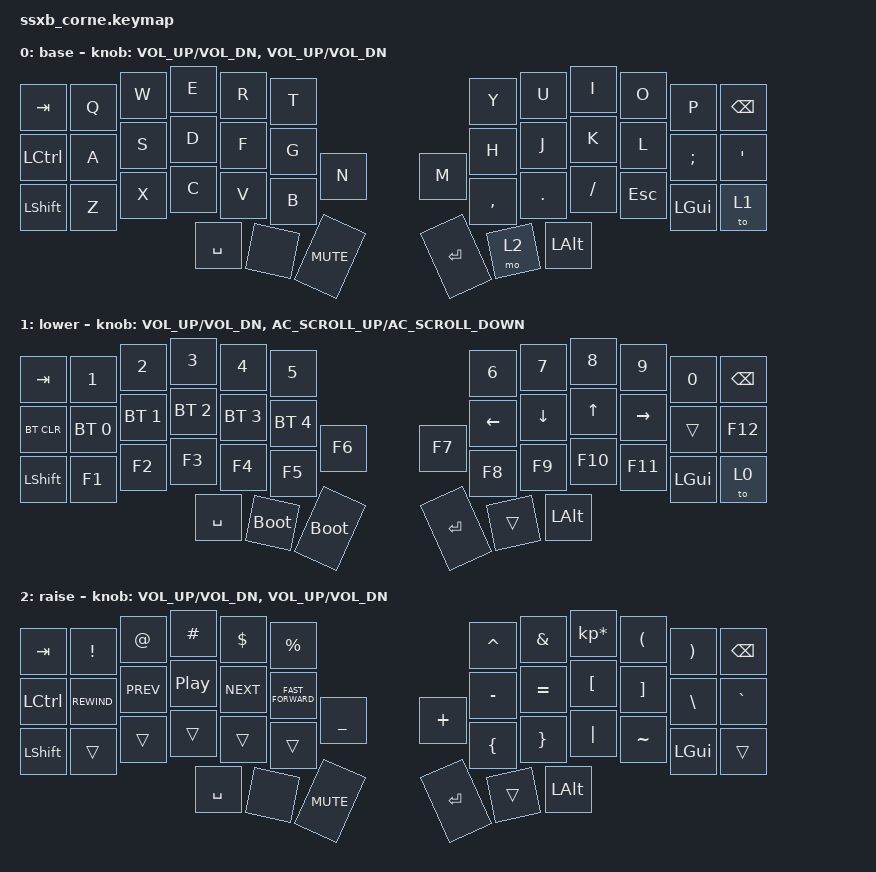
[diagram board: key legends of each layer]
#include <behaviors.dtsi>
#include <dt-bindings/zmk/bt.h>
#include <dt-bindings/zmk/keys.h>

/ {
    combos {
        compatible = "zmk,combos";

        combo_studio_unlock {
            timeout-ms = <50>;
            key-positions = <0 1>;
            bindings = <&studio_unlock>;
        };
    };
};

/ {
    keymap {
        compatible = "zmk,keymap";

        default_layer {
            display-name = "base";
            sensor-bindings =
                <&inc_dec_kp C_VOL_UP C_VOL_DN>,
                <&inc_dec_kp C_VOL_UP C_VOL_DN>;

            // -------------------------------------------------------------------------------------------------
            // |  TAB |  Q  |  W  |  E  |  R  |  T  |                    |  Y  |  U   |  I  |  O  |  P  | BKSP |
            // | CTRL |  A  |  S  |  D  |  F  |  G  |                    |  H  |  J   |  K  |  L  |  ;  |  '   |
            // | SHFT |  Z  |  X  |  C  |  V  |  B  |                    |  N  |  M   |  ,  |  .  |  /  | ESC  |
            //                    | GUI | LWR | SPC |  MUTE  |  |        | ENT | RSE  | ALT |

            bindings = <
&kp TAB    &kp Q  &kp W     &kp E  &kp R      &kp T              &kp Y    &kp U  &kp I      &kp O    &kp P     &kp BSPC
&kp LCTRL  &kp A  &kp S     &kp D  &kp F      &kp G              &kp H    &kp J  &kp K      &kp L    &kp SEMI  &kp SQT
&kp LSHFT  &kp Z  &kp X     &kp C  &kp V      &kp B              &kp N    &kp M  &kp COMMA  &kp DOT  &kp FSLH  &kp ESC
                  &kp LGUI  &to 1  &kp SPACE  &none  &kp C_MUTE  &kp RET  &mo 2  &kp LALT
            >;
        };

        lower_layer {
            display-name = "lower";
            sensor-bindings =
                <&inc_dec_kp C_VOL_UP C_VOL_DN>,
                <&inc_dec_kp C_AC_SCROLL_UP C_AC_SCROLL_DOWN>;

            // ------------------------------------------------------------------------------------------------
            // |  TAB |  1  |  2  |  3  |  4  |  5  |                    |  6  |  7  |  8  |  9  |  0  | BKSP |
            // | BTCLR| BT1 | BT2 | BT3 | BT4 | BT5 |                    | LFT | DWN |  UP | RGT |     |  F12 |
            // | SHFT | F1  | F2  | F3  | F4  | F5  |                    |  F6 | F7  | F8  | F9  | F10 |  F11 |
            //                    | GUI |     | SPC |  boot  |  |        | ENT |     | ALT |

            bindings = <
&kp TAB     &kp N1        &kp N2        &kp N3        &kp N4        &kp N5                     &kp N6    &kp N7    &kp N8    &kp N9     &kp N0   &kp BSPC
&bt BT_CLR  &bt BT_SEL 0  &bt BT_SEL 1  &bt BT_SEL 2  &bt BT_SEL 3  &bt BT_SEL 4               &kp LEFT  &kp DOWN  &kp UP    &kp RIGHT  &trans   &kp F12
&kp LSHFT   &kp F1        &kp F2        &kp F3        &kp F4        &kp F5                     &kp F6    &kp F7    &kp F8    &kp F9     &kp F10  &kp F11
                          &kp LGUI      &to 0         &kp SPACE     &bootloader   &bootloader  &kp RET   &trans    &kp LALT
            >;
        };

        raise_layer {
            display-name = "raise";
            sensor-bindings =
                <&inc_dec_kp C_VOL_UP C_VOL_DN>,
                <&inc_dec_kp C_VOL_UP C_VOL_DN>;

            // ------------------------------------------------------------------------------------------------
            // |  TAB |  !  |  @  |  #  |  $  |  %  |                    |  ^  |  &  |  *  |  (  |  )  | BKSP |
            // | CTRL |     |     |     |     |     |                    |  -  |  =  |  [  |  ]  |  \  |  `   |
            // | SHFT |     |     |     |     |     |                    |  _  |  +  |  {  |  }  | "|" |  ~   |
            //                    | GUI |     | SPC |        |  |  boot  | ENT |     | ALT |

            bindings = <
&kp TAB    &kp EXCL      &kp AT      &kp HASH          &kp DLLR    &kp PRCNT                       &kp CARET  &kp AMPS   &kp KP_MULTIPLY  &kp LPAR  &kp RPAR  &kp BSPC
&kp LCTRL  &kp C_REWIND  &kp C_PREV  &kp C_PLAY_PAUSE  &kp C_NEXT  &kp C_FAST_FORWARD              &kp MINUS  &kp EQUAL  &kp LBKT         &kp RBKT  &kp BSLH  &kp GRAVE
&kp LSHFT  &trans        &trans      &trans            &trans      &trans                          &kp UNDER  &kp PLUS   &kp LBRC         &kp RBRC  &kp PIPE  &kp TILDE
                         &kp LGUI    &trans            &kp SPACE   &none               &kp C_MUTE  &kp RET    &trans     &kp LALT
            >;
        };

        extra1 {
            display-name = "extra1";
            status = "reserved";
        };

        extra2 {
            display-name = "extra2";
            status = "reserved";
        };
    };
};
